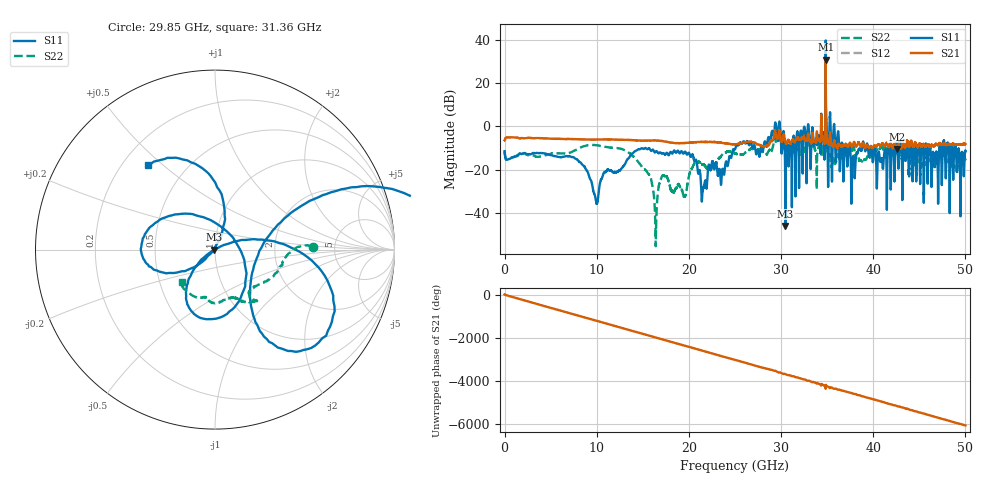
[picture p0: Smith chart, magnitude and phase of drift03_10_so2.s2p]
!Created with skrf (http://scikit-rf.org).
# Hz S RI R 50.0
!freq ReS11 ImS11 ReS21 ImS21 ReS12 ImS12 ReS22 ImS22
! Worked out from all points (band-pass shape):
!   10001 points, 300 kHz to 50 GHz, reference 50 ohm
!   highest |S21| = 30.82 dB at 34.85 GHz (marker M1); lowest = -10.4 dB at 42.56 GHz (marker M2)
!   |S21| within 3 dB of the highest: 34.84415 GHz to 34.84596 GHz (1.817 MHz wide, 0.00521 % of centre)
!   lowest |S11| = -46.0 dB at 30.47 GHz (marker M3), VSWR 1.01, Z = 49.5 - j0.0421 ohm
!   |S11| at or under -10 dB: start of sweep to 15.22 GHz; 15.33 GHz to 25.05 GHz (9.727 GHz wide, 48.2 % of centre); 40.22 GHz to 41.65 GHz (1.426 GHz wide, 3.48 % of centre) (the widest 3 of 54)
!   |S22| runs from -55.3 to 21.9 dB; largest |S21 - S12| = 4.9
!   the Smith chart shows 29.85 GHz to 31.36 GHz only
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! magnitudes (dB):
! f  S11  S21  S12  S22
! 300 kHz  -11.4  -6.5  -6.5  -11.5
! 8.335 GHz  -17.1  -6.0  -6.0  -9.6
! 9.955 GHz  -35.5  -6.1  -6.1  -8.7
! 11 GHz  -20.9  -6.1  -6.0  -9.5
! 15.5 GHz  -10.5  -6.6  -6.6  -21.3
! 16.36 GHz  -11.9  -6.5  -6.5  -45.2
! 16.67 GHz  -12.4  -6.6  -6.5  -29.2
! 17.32 GHz  -12.6  -6.9  -6.9  -22.8
! 19.54 GHz  -11.8  -7.7  -7.7  -32.3
! 20.21 GHz  -14.0  -7.5  -7.5  -20.1
! 21.55 GHz  -28.3  -7.2  -7.2  -17.7
! 25 GHz  -10.6  -8.3  -8.3  -12.6
! 29.6 GHz  -5.6  -5.7  -5.9  -7.9
! 30.47 GHz  -46.0  -7.2  -7.2  -9.1
! 33.34 GHz  -3.8  -7.0  -6.9  -9.4
! 34.85 GHz  39.7  30.8  30.6  21.9
! 35.63 GHz  -6.6  -9.2  -9.1  -16.1
! 37.82 GHz  -13.8  -8.4  -8.4  -10.1
! 39.09 GHz  -10.8  -9.6  -9.7  -15.4
! 41.67 GHz  -9.8  -9.5  -9.4  -11.5
! 42.56 GHz  -8.4  -10.4  -10.5  -13.1
! 50 GHz  -11.2  -8.2  -8.2  -15.5
